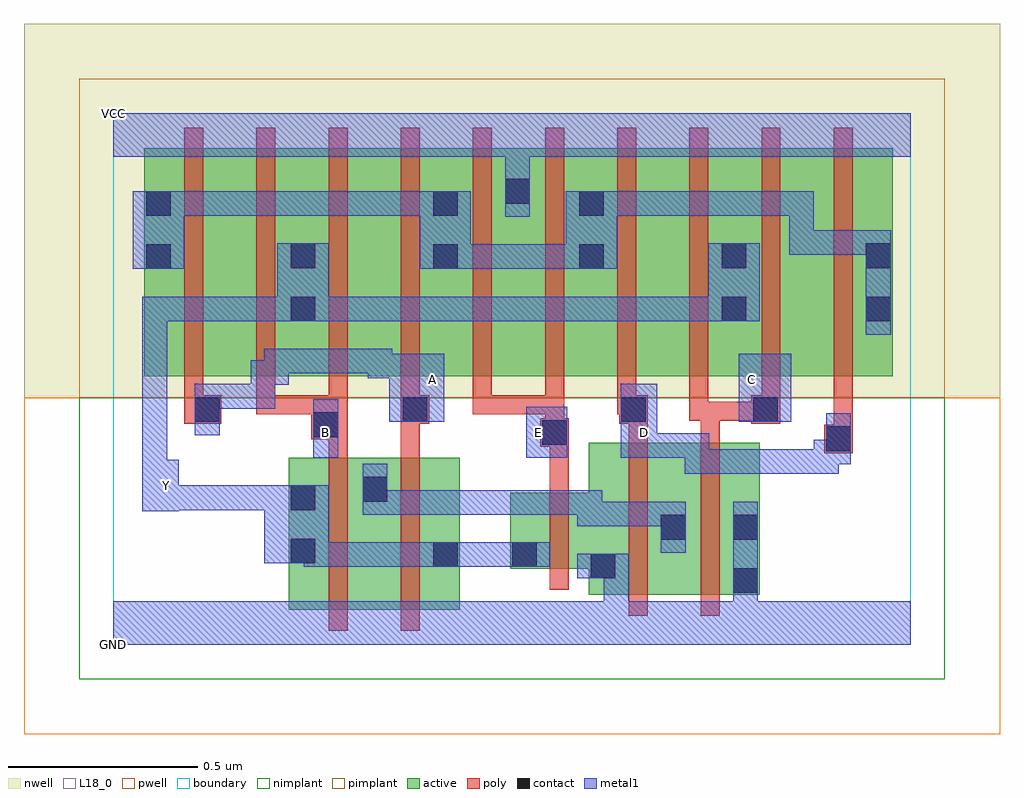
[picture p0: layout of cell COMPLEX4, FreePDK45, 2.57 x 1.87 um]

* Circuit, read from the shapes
.subckt COMPLEX4 A B C D E GND VCC Y
M1 n1 B Y VSUBS nfet w=0.4u l=0.05u
M2 Y A n1 VSUBS nfet w=0.4u l=0.05u
M3 GND E Y VSUBS nfet w=0.2u l=0.05u
M4 n1 D GND VSUBS nfet w=0.4u l=0.05u
M5 GND C n1 VSUBS nfet w=0.4u l=0.05u
M6 n2 A n3 n4 pfet w=0.6u l=0.05u
M7 Y B n2 n4 pfet w=0.6u l=0.05u
M8 n5 B Y n4 pfet w=0.6u l=0.05u
M9 n3 A n5 n4 pfet w=0.6u l=0.05u
M10 VCC E n3 n4 pfet w=0.6u l=0.05u m=2
M11 n6 D n3 n4 pfet w=0.6u l=0.05u
M12 Y C n6 n4 pfet w=0.6u l=0.05u
M13 n7 C Y n4 pfet w=0.6u l=0.05u
M14 n3 D n7 n4 pfet w=0.6u l=0.05u
.ends

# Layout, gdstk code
import gdstk
lib = gdstk.Library(unit=1e-6, precision=1e-09)
def R(c, l, rs):  # rectangles x0, y0, x1, y1
    for r in rs: c.add(gdstk.rectangle(r[:2], r[2:], *l))
def A(c, l, x, y, w, h, nx, ny, dx, dy):  # array of equal rectangles
    R(c, l, [(x+i*dx, y+j*dy, x+i*dx+w, y+j*dy+h) for i in range(nx) for j in range(ny)])
active = (1, 0)
pwell = (2, 0)
nwell = (3, 0)
nimplant = (4, 0)
pimplant = (5, 0)
poly = (9, 0)
contact = (10, 0)
metal1 = (11, 0)
L18_0 = (18, 0)
boundary = (235, 0)

complex4 = lib.new_cell('COMPLEX4')
R(complex4, active, [(0.462,0.092,0.727,0.492), (0.652,0.092,0.912,0.492), (1.252,0.132,1.512,0.532), (1.437,0.132,1.702,0.532), (1.627,0.132,1.702,0.532), (1.252,0.17,1.327,0.292), (0.462,0.195,0.537,0.492), (0.652,0.195,0.727,0.492), (0.837,0.195,0.912,0.492), (1.437,0.195,1.512,0.492), (1.045,0.2,1.327,0.4), (1.045,0.2,1.12,0.4), (0.082,0.707,0.307,1.307), (0.082,0.707,0.187,1.2), (0.307,0.707,0.537,1.307), (0.462,0.707,0.687,1.307), (0.462,0.707,0.537,1.07), (0.687,0.707,0.912,1.307), (0.837,0.707,0.912,1.2), (0.837,0.707,1.102,1.307), (1.027,0.707,1.297,1.307), (1.027,0.707,1.102,1.305), (1.222,0.707,1.297,1.2), (1.222,0.707,1.447,1.307), (1.447,0.707,1.672,1.307), (1.597,0.707,1.827,1.307), (1.597,0.707,1.672,1.07), (1.827,0.707,2.052,1.307), (1.977,0.707,2.052,1.2)])
R(complex4, pwell, [(-0.235,-0.235,2.335,0.65)])
R(complex4, nwell, [(-0.235,0.65,2.335,1.635)])
R(complex4, nimplant, [(-0.09,-0.09,2.19,0.65)])
R(complex4, pimplant, [(-0.09,0.65,2.19,1.49)])
A(complex4, poly, 0.187, 0.607, 0.05, 0.095, 7, 1, 0.19, 0)
A(complex4, poly, 0.187, 0.652, 0.05, 0.71, 10, 1, 0.19, 0)
R(complex4, poly, [(0.567,0.037,0.617,0.547), (0.757,0.037,0.807,0.547), (1.357,0.077,1.407,0.587), (1.547,0.077,1.597,0.587), (1.15,0.145,1.2,0.455), (1.15,0.405,1.2,0.572), (0.567,0.497,0.617,0.592), (0.757,0.497,0.807,0.632), (1.872,0.505,1.947,0.58), (1.125,0.522,1.2,0.597), (1.897,0.53,1.947,0.702), (1.897,0.53,1.947,0.58), (1.897,0.53,1.947,0.58), (1.357,0.537,1.407,0.632), (1.547,0.537,1.597,0.64), (0.522,0.542,0.617,0.617), (1.137,0.547,1.187,0.657), (0.567,0.567,0.617,0.657), (0.187,0.582,0.285,0.657), (0.757,0.582,0.807,0.632), (0.757,0.582,0.807,0.632), (0.757,0.582,0.832,0.657), (1.332,0.582,1.407,0.657), (1.68,0.582,1.757,0.657), (1.517,0.59,1.567,0.702), (1.517,0.59,1.597,0.64), (1.547,0.59,1.597,0.64), (1.547,0.59,1.597,0.64), (1.547,0.59,1.73,0.64), (1.68,0.59,1.73,0.64), (1.68,0.59,1.73,0.64), (0.377,0.607,0.427,0.657), (0.377,0.607,0.427,0.657), (0.377,0.607,0.427,0.657), (0.377,0.607,0.617,0.657), (0.567,0.607,0.617,0.657), (0.947,0.607,0.997,0.657), (0.947,0.607,1.187,0.657), (1.137,0.607,1.187,0.657), (1.137,0.607,1.187,0.657), (1.137,0.607,1.187,0.657), (1.327,0.607,1.382,0.657), (1.332,0.607,1.382,0.657), (1.707,0.607,1.757,0.702)])
R(complex4, contact, [(1.632,0.137,1.697,0.202), (1.257,0.175,1.322,0.24), (0.842,0.205,0.907,0.27), (1.05,0.205,1.115,0.27), (0.467,0.215,0.532,0.28), (1.442,0.277,1.507,0.342), (1.632,0.277,1.697,0.342), (0.467,0.355,0.532,0.42), (0.657,0.377,0.722,0.442), (1.877,0.51,1.942,0.575), (1.13,0.527,1.195,0.592), (0.527,0.547,0.592,0.612), (0.215,0.587,0.28,0.652), (0.762,0.587,0.827,0.652), (1.337,0.587,1.402,0.652), (1.685,0.587,1.75,0.652), (0.467,0.852,0.532,0.917), (1.602,0.852,1.667,0.917), (1.982,0.852,2.047,0.917), (0.087,0.99,0.152,1.055), (0.842,0.99,0.907,1.055), (1.227,0.99,1.292,1.055), (0.467,0.992,0.532,1.057), (1.602,0.992,1.667,1.057), (1.982,0.992,2.047,1.057), (0.087,1.13,0.152,1.195), (0.842,1.13,0.907,1.195), (1.227,1.13,1.292,1.195), (1.032,1.162,1.097,1.227)])
R(complex4, metal1, [(0,0,2.1,0.115), (1.292,0.05,1.357,0.24), (1.632,0.05,1.697,0.167), (1.632,0.102,1.697,0.377), (1.222,0.175,1.357,0.24), (0.502,0.205,0.567,0.27), (0.502,0.205,0.567,0.27), (0.502,0.205,0.567,0.27), (0.502,0.205,0.705,0.27), (0.502,0.205,0.567,0.28), (0.64,0.205,0.705,0.27), (0.64,0.205,0.705,0.27), (0.64,0.205,0.705,0.27), (0.64,0.205,0.872,0.27), (0.807,0.205,0.942,0.27), (0.877,0.205,0.942,0.27), (0.877,0.205,0.942,0.27), (0.877,0.205,1.08,0.27), (1.015,0.205,1.15,0.27), (0.397,0.215,0.567,0.42), (1.442,0.242,1.507,0.377), (1.222,0.312,1.287,0.377), (1.222,0.312,1.287,0.377), (1.222,0.312,1.507,0.377), (1.222,0.312,1.287,0.407), (0.657,0.342,0.722,0.407), (0.657,0.342,0.722,0.407), (0.657,0.342,0.722,0.477), (0.657,0.342,0.872,0.407), (0.807,0.342,0.872,0.407), (0.807,0.342,0.872,0.407), (0.807,0.342,0.872,0.407), (0.807,0.342,1.12,0.407), (1.055,0.342,1.12,0.407), (1.055,0.342,1.12,0.407), (1.055,0.342,1.12,0.407), (1.055,0.342,1.287,0.407), (0.077,0.352,0.172,0.487), (0.107,0.355,0.172,0.42), (0.107,0.355,0.172,0.42), (0.107,0.355,0.325,0.42), (0.26,0.355,0.325,0.42), (0.26,0.355,0.43,0.42), (0.365,0.355,0.43,0.42), (0.365,0.355,0.462,0.42), (0.397,0.355,0.462,0.42), (0.397,0.355,0.462,0.42), (0.077,0.422,0.142,0.487), (0.077,0.422,0.142,0.487), (0.077,0.422,0.142,0.917), (1.505,0.45,1.707,0.515), (1.505,0.45,1.57,0.557), (1.642,0.45,1.707,0.515), (1.642,0.45,1.707,0.515), (1.642,0.45,1.707,0.515), (1.642,0.45,1.91,0.515), (1.845,0.45,1.91,0.54), (1.845,0.475,1.942,0.54), (1.877,0.475,1.942,0.61), (0.527,0.492,0.592,0.647), (1.087,0.492,1.195,0.627), (1.337,0.492,1.432,0.687), (1.367,0.492,1.495,0.557), (1.43,0.492,1.495,0.557), (1.43,0.492,1.57,0.557), (0.215,0.552,0.28,0.687), (0.727,0.587,0.872,0.767), (1.647,0.587,1.785,0.767), (0.215,0.622,0.325,0.687), (0.26,0.622,0.325,0.687), (0.26,0.622,0.427,0.687), (0.362,0.622,0.427,0.75), (0.362,0.685,0.462,0.75), (0.397,0.685,0.462,0.78), (0.67,0.702,0.792,0.767), (0.67,0.702,0.735,0.78), (0.397,0.715,0.567,0.78), (0.502,0.715,0.567,0.78), (0.502,0.715,0.735,0.78), (1.982,0.817,2.047,1.092), (0.077,0.852,0.142,0.917), (0.077,0.852,0.142,0.917), (0.077,0.852,0.142,0.917), (0.077,0.852,0.325,0.917), (0.26,0.852,0.325,0.917), (0.26,0.852,0.417,0.917), (0.352,0.852,0.417,0.917), (0.352,0.852,0.497,0.917), (0.432,0.852,0.567,1.057), (0.502,0.852,0.567,0.917), (0.502,0.852,0.567,0.917), (0.502,0.852,0.705,0.917), (0.64,0.852,0.705,0.917), (0.64,0.852,0.705,0.917), (0.64,0.852,0.705,0.917), (0.64,0.852,0.942,0.917), (0.877,0.852,0.942,0.917), (0.877,0.852,0.942,0.917), (0.877,0.852,0.942,0.917), (0.877,0.852,1.12,0.917), (1.055,0.852,1.12,0.917), (1.055,0.852,1.12,0.917), (1.055,0.852,1.12,0.917), (1.055,0.852,1.257,0.917), (1.192,0.852,1.257,0.917), (1.192,0.852,1.257,0.917), (1.192,0.852,1.257,0.917), (1.192,0.852,1.495,0.917), (1.43,0.852,1.495,0.917), (1.43,0.852,1.57,0.917), (1.505,0.852,1.57,0.917), (1.505,0.852,1.632,0.917), (1.567,0.852,1.702,1.057), (0.052,0.99,0.187,1.195), (0.807,0.99,0.942,1.195), (0.877,0.99,0.942,1.055), (0.877,0.99,0.942,1.055), (0.877,0.99,1.12,1.055), (1.055,0.99,1.12,1.055), (1.055,0.99,1.12,1.055), (1.055,0.99,1.12,1.055), (1.055,0.99,1.257,1.055), (1.192,0.99,1.327,1.195), (1.78,1.027,1.845,1.092), (1.78,1.027,2.047,1.092), (1.78,1.027,1.845,1.195), (1.982,1.027,2.047,1.092), (1.982,1.027,2.047,1.092), (1.032,1.127,1.097,1.262), (0.122,1.13,0.187,1.195), (0.122,1.13,0.187,1.195), (0.122,1.13,0.325,1.195), (0.26,1.13,0.325,1.195), (0.26,1.13,0.417,1.195), (0.352,1.13,0.417,1.195), (0.352,1.13,0.567,1.195), (0.502,1.13,0.567,1.195), (0.502,1.13,0.567,1.195), (0.502,1.13,0.567,1.195), (0.502,1.13,0.705,1.195), (0.64,1.13,0.705,1.195), (0.64,1.13,0.705,1.195), (0.64,1.13,0.705,1.195), (0.64,1.13,0.872,1.195), (1.262,1.13,1.327,1.195), (1.262,1.13,1.327,1.195), (1.262,1.13,1.495,1.195), (1.43,1.13,1.495,1.195), (1.43,1.13,1.57,1.195), (1.505,1.13,1.57,1.195), (1.505,1.13,1.707,1.195), (1.642,1.13,1.707,1.195), (1.642,1.13,1.707,1.195), (1.642,1.13,1.707,1.195), (1.642,1.13,1.845,1.195), (1.78,1.13,1.845,1.195), (1.032,1.197,1.097,1.35), (0,1.285,2.1,1.4)])
R(complex4, L18_0, [(0,0,2.1,0.115), (1.292,0.05,1.357,0.24), (1.632,0.05,1.697,0.167), (1.632,0.102,1.697,0.377), (1.222,0.175,1.357,0.24), (0.502,0.205,0.567,0.27), (0.502,0.205,0.567,0.27), (0.502,0.205,0.567,0.27), (0.502,0.205,0.567,0.28), (0.502,0.205,0.705,0.27), (0.64,0.205,0.705,0.27), (0.64,0.205,0.705,0.27), (0.64,0.205,0.705,0.27), (0.64,0.205,0.872,0.27), (0.807,0.205,0.942,0.27), (0.877,0.205,0.942,0.27), (0.877,0.205,0.942,0.27), (0.877,0.205,1.08,0.27), (1.015,0.205,1.15,0.27), (0.397,0.215,0.567,0.42), (0.077,0.352,0.172,0.487), (0.107,0.355,0.172,0.42), (0.107,0.355,0.172,0.42), (0.107,0.355,0.325,0.42), (0.26,0.355,0.325,0.42), (0.26,0.355,0.43,0.42), (0.365,0.355,0.43,0.42), (0.365,0.355,0.462,0.42), (0.397,0.355,0.462,0.42), (0.397,0.355,0.462,0.42), (0.107,0.387,0.172,0.452), (0.077,0.422,0.142,0.487), (0.077,0.422,0.142,0.487), (0.077,0.422,0.142,0.917), (1.505,0.45,1.707,0.515), (1.505,0.45,1.57,0.557), (1.642,0.45,1.707,0.515), (1.642,0.45,1.707,0.515), (1.642,0.45,1.707,0.515), (1.642,0.45,1.91,0.515), (1.845,0.45,1.91,0.54), (1.845,0.475,1.942,0.54), (1.877,0.475,1.942,0.61), (0.527,0.492,0.592,0.647), (1.087,0.492,1.195,0.627), (1.337,0.492,1.432,0.687), (1.367,0.492,1.495,0.557), (1.43,0.492,1.495,0.557), (1.43,0.492,1.57,0.557), (0.527,0.527,0.592,0.592), (1.087,0.527,1.152,0.592), (1.367,0.527,1.432,0.592), (0.215,0.552,0.28,0.687), (0.727,0.587,0.872,0.767), (1.647,0.587,1.785,0.767), (0.215,0.622,0.325,0.687), (0.26,0.622,0.325,0.687), (0.26,0.622,0.427,0.687), (0.362,0.622,0.427,0.75), (0.807,0.667,0.872,0.732), (1.647,0.667,1.712,0.732), (0.362,0.685,0.462,0.75), (0.397,0.685,0.462,0.78), (0.67,0.702,0.735,0.78), (0.67,0.702,0.792,0.767), (0.397,0.715,0.567,0.78), (0.502,0.715,0.567,0.78), (0.502,0.715,0.735,0.78), (0.077,0.852,0.142,0.917), (0.077,0.852,0.142,0.917), (0.077,0.852,0.142,0.917), (0.077,0.852,0.325,0.917), (0.26,0.852,0.325,0.917), (0.26,0.852,0.417,0.917), (0.352,0.852,0.417,0.917), (0.352,0.852,0.497,0.917), (0.432,0.852,0.567,1.057), (0.502,0.852,0.567,0.917), (0.502,0.852,0.567,0.917), (0.502,0.852,0.705,0.917), (0.64,0.852,0.705,0.917), (0.64,0.852,0.705,0.917), (0.64,0.852,0.705,0.917), (0.64,0.852,0.942,0.917), (0.877,0.852,0.942,0.917), (0.877,0.852,0.942,0.917), (0.877,0.852,0.942,0.917), (0.877,0.852,1.12,0.917), (1.055,0.852,1.12,0.917), (1.055,0.852,1.12,0.917), (1.055,0.852,1.12,0.917), (1.055,0.852,1.257,0.917), (1.192,0.852,1.257,0.917), (1.192,0.852,1.257,0.917), (1.192,0.852,1.257,0.917), (1.192,0.852,1.495,0.917), (1.43,0.852,1.495,0.917), (1.43,0.852,1.57,0.917), (1.505,0.852,1.57,0.917), (1.505,0.852,1.632,0.917), (1.567,0.852,1.702,1.057), (1.032,1.127,1.097,1.262), (1.032,1.197,1.097,1.35), (0,1.285,2.1,1.4)])
R(complex4, boundary, [(0,0,2.1,1.4)])
complex4.add(gdstk.Label('A', (0.84,0.7), layer=11, texttype=0))
complex4.add(gdstk.Label('B', (0.56,0.56), layer=11, texttype=0))
complex4.add(gdstk.Label('C', (1.68,0.7), layer=11, texttype=0))
complex4.add(gdstk.Label('D', (1.4,0.56), layer=11, texttype=0))
complex4.add(gdstk.Label('E', (1.12,0.56), layer=11, texttype=0))
complex4.add(gdstk.Label('Y', (0.14,0.42), layer=11, texttype=0))
complex4.add(gdstk.Label('VCC', (0,1.4), layer=11, texttype=0))
complex4.add(gdstk.Label('GND', (0,0), layer=11, texttype=0))

lib.write_gds('COMPLEX4.gds')
